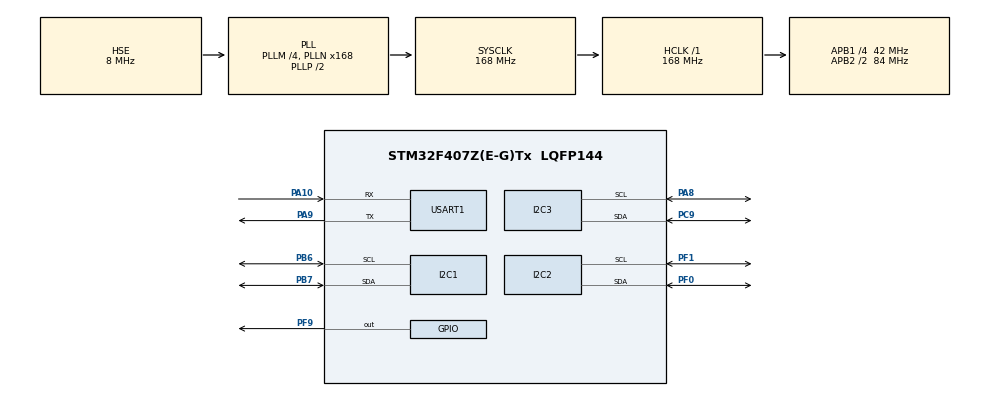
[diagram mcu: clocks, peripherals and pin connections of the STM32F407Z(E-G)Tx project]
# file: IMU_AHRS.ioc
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Dma.I2C2_RX.1.Direction=DMA_PERIPH_TO_MEMORY
Dma.I2C2_RX.1.FIFOMode=DMA_FIFOMODE_DISABLE
Dma.I2C2_RX.1.Instance=DMA1_Stream3
Dma.I2C2_RX.1.MemDataAlignment=DMA_MDATAALIGN_BYTE
Dma.I2C2_RX.1.MemInc=DMA_MINC_ENABLE
Dma.I2C2_RX.1.Mode=DMA_NORMAL
Dma.I2C2_RX.1.PeriphDataAlignment=DMA_PDATAALIGN_BYTE
Dma.I2C2_RX.1.PeriphInc=DMA_PINC_DISABLE
Dma.I2C2_RX.1.Priority=DMA_PRIORITY_LOW
Dma.I2C3_RX.0.Direction=DMA_PERIPH_TO_MEMORY
Dma.I2C3_RX.0.FIFOMode=DMA_FIFOMODE_DISABLE
Dma.I2C3_RX.0.Instance=DMA1_Stream2
Dma.I2C3_RX.0.MemDataAlignment=DMA_MDATAALIGN_BYTE
Dma.I2C3_RX.0.MemInc=DMA_MINC_ENABLE
Dma.I2C3_RX.0.Mode=DMA_NORMAL
Dma.I2C3_RX.0.PeriphDataAlignment=DMA_PDATAALIGN_BYTE
Dma.I2C3_RX.0.PeriphInc=DMA_PINC_DISABLE
Dma.I2C3_RX.0.Priority=DMA_PRIORITY_LOW
Dma.Request0=I2C3_RX
Dma.Request1=I2C2_RX
Dma.Request2=USART1_TX
Dma.USART1_TX.2.Direction=DMA_MEMORY_TO_PERIPH
Dma.USART1_TX.2.FIFOMode=DMA_FIFOMODE_DISABLE
Dma.USART1_TX.2.Instance=DMA2_Stream7
Dma.USART1_TX.2.MemDataAlignment=DMA_MDATAALIGN_BYTE
Dma.USART1_TX.2.MemInc=DMA_MINC_ENABLE
Dma.USART1_TX.2.Mode=DMA_NORMAL
Dma.USART1_TX.2.PeriphDataAlignment=DMA_PDATAALIGN_BYTE
Dma.USART1_TX.2.PeriphInc=DMA_PINC_DISABLE
Dma.USART1_TX.2.Priority=DMA_PRIORITY_LOW
I2C2.I2C_Mode=I2C_Fast
I2C3.I2C_Mode=I2C_Fast
Mcu.Family=STM32F4
Mcu.Name=STM32F407Z(E-G)Tx
Mcu.Package=LQFP144
NVIC.DMA1_Stream2_IRQn=true\:0\:0\:false\:false\:true\:false\:true\:true
NVIC.DMA1_Stream3_IRQn=true\:0\:0\:false\:false\:true\:false\:true\:true
NVIC.DMA2_Stream7_IRQn=true\:0\:0\:false\:false\:true\:false\:true\:true
NVIC.PriorityGroup=NVIC_PRIORITYGROUP_4
NVIC.TIM6_DAC_IRQn=true\:0\:0\:false\:false\:true\:true\:true\:true
NVIC.USART1_IRQn=true\:0\:0\:false\:false\:true\:true\:true\:true
PA10.Mode=Asynchronous
PA10.Signal=USART1_RX
PA13.Mode=Serial_Wire
PA13.Signal=SYS_JTMS-SWDIO
PA14.Mode=Serial_Wire
PA14.Signal=SYS_JTCK-SWCLK
PA8.GPIO_Pu=GPIO_NOPULL
PA8.Mode=I2C
PA8.Signal=I2C3_SCL
PA9.Mode=Asynchronous
PA9.Signal=USART1_TX
PB6.Mode=I2C
PB6.Signal=I2C1_SCL
PB7.Mode=I2C
PB7.Signal=I2C1_SDA
PC9.GPIO_Pu=GPIO_NOPULL
PC9.Mode=I2C
PC9.Signal=I2C3_SDA
PF0.Mode=I2C
PF0.Signal=I2C2_SDA
PF1.Mode=I2C
PF1.Signal=I2C2_SCL
PF9.GPIO_ModeDefaultOutputPP=GPIO_MODE_OUTPUT_OD
PF9.GPIO_PuPd=GPIO_NOPULL
PF9.Signal=GPIO_Output
PH0-OSC_IN.Mode=HSE-External-Oscillator
PH0-OSC_IN.Signal=RCC_OSC_IN
PH1-OSC_OUT.Mode=HSE-External-Oscillator
PH1-OSC_OUT.Signal=RCC_OSC_OUT
ProjectManager.HeapSize=0x200
ProjectManager.StackSize=0x400
ProjectManager.TargetToolchain=CMake
RCC.48MHZClocksFreq_Value=84000000
RCC.AHBFreq_Value=168000000
RCC.APB1CLKDivider=RCC_HCLK_DIV4
RCC.APB1Freq_Value=42000000
RCC.APB1TimFreq_Value=84000000
RCC.APB2CLKDivider=RCC_HCLK_DIV2
RCC.APB2Freq_Value=84000000
RCC.APB2TimFreq_Value=168000000
RCC.CortexFreq_Value=168000000
RCC.HCLKFreq_Value=168000000
RCC.HSE_VALUE=8000000
RCC.HSI_VALUE=16000000
RCC.LSE_VALUE=32768
RCC.PLLM=4
RCC.PLLN=168
RCC.PLLSourceVirtual=RCC_PLLSOURCE_HSE
RCC.SYSCLKFreq_VALUE=168000000
RCC.SYSCLKSource=RCC_SYSCLKSOURCE_PLLCLK
RCC.VCOOutputFreq_Value=336000000
TIM6.AutoReloadPreload=TIM_AUTORELOAD_PRELOAD_DISABLE
TIM6.Period=100-1
USART1.VirtualMode=VM_ASYNC
VP_TIM6_VS_ClockSourceINT.Mode=Enable_Timer
board=custom

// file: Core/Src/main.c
/* USER CODE BEGIN Header */
/**
  ******************************************************************************
  * @file           : main.c
  * @brief          : Main program body
  ******************************************************************************
  * @attention
  *
  * Copyright (c) 2026 STMicroelectronics.
  * All rights reserved.
  *
  * This software is licensed under terms that can be found in the LICENSE file
  * in the root directory of this software component.
  * If no LICENSE file comes with this software, it is provided AS-IS.
  *
  ******************************************************************************
  */
/* USER CODE END Header */
#include "main.h"
#include "dma.h"
#include "i2c.h"
#include "tim.h"
#include "usart.h"
#include "gpio.h"

/* USER CODE BEGIN Includes */
#include "AHRS.h"
#include "ahrs_mw.h"
#include "telemetry.h"
#include "OLED.h"
#include "quaternion.h"
/* USER CODE END Includes */

/* USER CODE BEGIN PTD */
#define RAD_TO_DEG 57.2957795f
#define TELEMETRY_MAG_RAW 0
/* USER CODE END PTD */

/* USER CODE BEGIN PV */
AHRS_State_t ahrs;
IMU_Data_t imu_data;
/* USER CODE END PV */

void SystemClock_Config(void);

/* USER CODE BEGIN 0 */
static void DWT_TimebaseInit(void)
{
  CoreDebug->DEMCR |= CoreDebug_DEMCR_TRCENA_Msk;
  DWT->CYCCNT = 0U;
  DWT->CTRL |= DWT_CTRL_CYCCNTENA_Msk;
}

static float DWT_GetDeltaSeconds(uint32_t *last_cycle)
{
  uint32_t now_cycle = DWT->CYCCNT;
  uint32_t delta_cycle = now_cycle - *last_cycle;

  *last_cycle = now_cycle;

  if ((DWT->CTRL & DWT_CTRL_CYCCNTENA_Msk) == 0U || SystemCoreClock == 0U)
  {
    return 0.001f;
  }

  return (float)delta_cycle / (float)SystemCoreClock;
}

/* USER CODE END 0 */

int main(void)
{

  /* MCU Configuration--------------------------------------------------------*/

  /* Reset of all peripherals, Initializes the Flash interface and the Systick. */
  HAL_Init();

  /* Configure the system clock */
  SystemClock_Config();

  /* Initialize all configured peripherals */
  MX_GPIO_Init();
  MX_DMA_Init();
  MX_I2C1_Init();
  MX_I2C2_Init();
  MX_I2C3_Init();
  MX_TIM6_Init();
  MX_USART1_UART_Init();
  /* USER CODE BEGIN 2 */

  OLED_Init();
  DWT_TimebaseInit();
  AHRS_MW_Init(); // 初始化传感器
  AHRS_Init(&ahrs); // 初始化算法

  OLED_ShowString(1, 1, "RPY RUN");

  uint32_t imu_cycle_tick = DWT->CYCCNT;
  uint32_t base_tick = HAL_GetTick();
  uint32_t last_req_tick = base_tick;
  uint32_t last_oled_tick = base_tick;
  uint32_t last_telemetry_tick = base_tick;
  uint16_t led_div = 0;

  AHRS_MW_RequestData();

  /* USER CODE END 2 */

  /* Infinite loop */
  /* USER CODE BEGIN WHILE */
  while (1)
  {
    uint32_t now;

    I2C_ServiceRecover();
    now = HAL_GetTick();

    if (!AHRS_MW_IsDataReady())
    {
      if ((now - last_req_tick) >= 1U)
      {
        AHRS_MW_RequestData();
        last_req_tick = now;
      }
    }

    if (AHRS_MW_IsDataReady())
    {
      float dt = DWT_GetDeltaSeconds(&imu_cycle_tick);

      if (dt <= 0.0f)
      {
        dt = 0.001f;
      }
      if (dt > 0.02f)
      {
        dt = 0.02f;
      }

      if (AHRS_MW_GetData(&imu_data))
      {
        AHRS_Update(&ahrs, &imu_data, dt);
        AHRS_GetEuler(&ahrs);

        led_div++;

        if (led_div >= 250U)
        {
          led_div = 0;
          HAL_GPIO_TogglePin(GPIOF, GPIO_PIN_9);
        }
      }

      AHRS_MW_RequestData();
      last_req_tick = now;
    }

    if ((now - last_telemetry_tick) >= 10U)
    {
      last_telemetry_tick = now;
#if TELEMETRY_MAG_RAW
      Telemetry_SendMagRaw(imu_data.mx_raw, imu_data.my_raw, imu_data.mz_raw);
#else
      Telemetry_SendAttitude(
          ahrs.roll * RAD_TO_DEG,
          ahrs.pitch * RAD_TO_DEG,
          ahrs.yaw * RAD_TO_DEG
      );
#endif
    }

    if ((now - last_oled_tick) >= 50U)
    {
      OLED_ShowString(2, 1, "R");
      OLED_ShowString(3, 1, "P");
      OLED_ShowString(4, 1, "Y");
      OLED_ShowFloat(2, 2, ahrs.roll * RAD_TO_DEG, 3, 1);
      OLED_ShowFloat(3, 2, ahrs.pitch * RAD_TO_DEG, 3, 1);
      OLED_ShowFloat(4, 2, ahrs.yaw * RAD_TO_DEG, 3, 1);

      last_oled_tick = now;
    }
  }
    /* USER CODE END WHILE */

}

void SystemClock_Config(void)
{
  RCC_OscInitTypeDef RCC_OscInitStruct = {0};
  RCC_ClkInitTypeDef RCC_ClkInitStruct = {0};

  /** Configure the main internal regulator output voltage
  */
  __HAL_RCC_PWR_CLK_ENABLE();
  __HAL_PWR_VOLTAGESCALING_CONFIG(PWR_REGULATOR_VOLTAGE_SCALE1);

  /** Initializes the RCC Oscillators according to the specified parameters
  * in the RCC_OscInitTypeDef structure.
  */
  RCC_OscInitStruct.OscillatorType = RCC_OSCILLATORTYPE_HSE;
  RCC_OscInitStruct.HSEState = RCC_HSE_ON;
  RCC_OscInitStruct.PLL.PLLState = RCC_PLL_ON;
  RCC_OscInitStruct.PLL.PLLSource = RCC_PLLSOURCE_HSE;
  RCC_OscInitStruct.PLL.PLLM = 4;
  RCC_OscInitStruct.PLL.PLLN = 168;
  RCC_OscInitStruct.PLL.PLLP = RCC_PLLP_DIV2;
  RCC_OscInitStruct.PLL.PLLQ = 4;
  if (HAL_RCC_OscConfig(&RCC_OscInitStruct) != HAL_OK)
  {
    Error_Handler();
  }

  /** Initializes the CPU, AHB and APB buses clocks
  */
  RCC_ClkInitStruct.ClockType = RCC_CLOCKTYPE_HCLK|RCC_CLOCKTYPE_SYSCLK
                              |RCC_CLOCKTYPE_PCLK1|RCC_CLOCKTYPE_PCLK2;
  RCC_ClkInitStruct.SYSCLKSource = RCC_SYSCLKSOURCE_PLLCLK;
  RCC_ClkInitStruct.AHBCLKDivider = RCC_SYSCLK_DIV1;
  RCC_ClkInitStruct.APB1CLKDivider = RCC_HCLK_DIV4;
  RCC_ClkInitStruct.APB2CLKDivider = RCC_HCLK_DIV2;

  if (HAL_RCC_ClockConfig(&RCC_ClkInitStruct, FLASH_LATENCY_5) != HAL_OK)
  {
    Error_Handler();
  }
}

/* USER CODE BEGIN 4 */
void HAL_TIM_PeriodElapsedCallback(TIM_HandleTypeDef *htim)
{
  // 判断是TIM6的中断
  if(htim->Instance == TIM6)
  {

  }
  // 如果有TIM3中断，继续加else if(htim->Instance == TIM3)即可
}
/* USER CODE END 4 */

void Error_Handler(void)
{
  __disable_irq();
  while (1)
  {
  }
}
